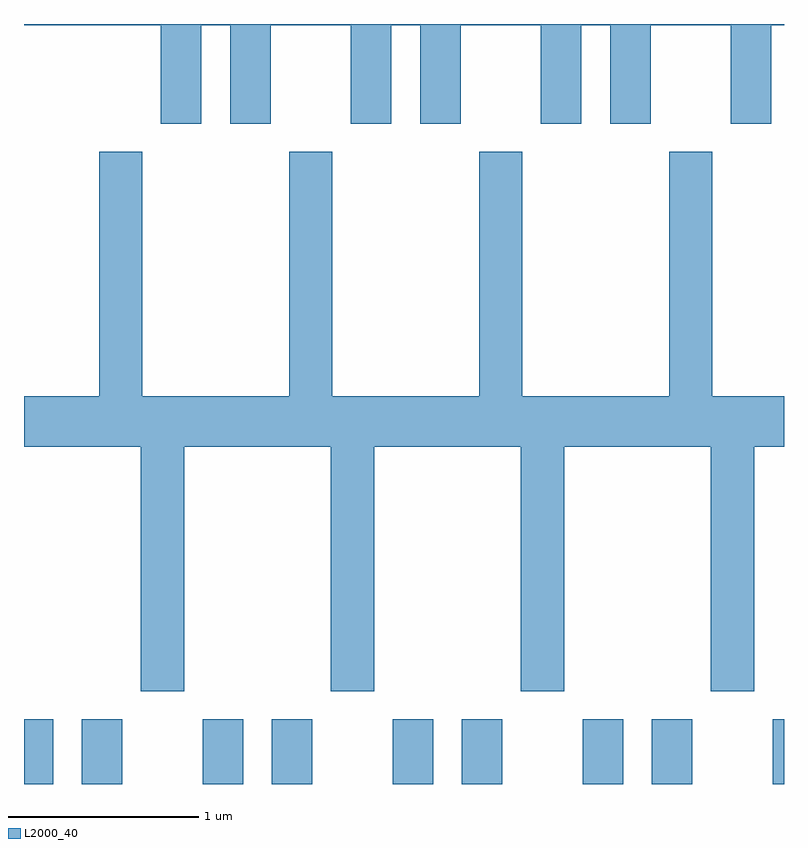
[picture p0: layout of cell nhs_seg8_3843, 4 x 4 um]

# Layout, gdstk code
import gdstk
lib = gdstk.Library(unit=1e-6, precision=1e-09)
def R(c, l, rs):  # rectangles x0, y0, x1, y1
    for r in rs: c.add(gdstk.rectangle(r[:2], r[2:], *l))
def P(c, l, *ps):  # polygons
    for p in ps: c.add(gdstk.Polygon(p, *l))
L2000_40 = (2000, 40)

nhs_seg8_3843 = lib.new_cell('nhs_seg8_3843')
R(nhs_seg8_3843, L2000_40, [(299.611,1912.342,299.764,1912.684), (299.916,1912.342,300.129,1912.684), (300.551,1912.342,300.764,1912.684), (300.916,1912.342,301.129,1912.684), (301.551,1912.342,301.764,1912.684), (301.916,1912.342,302.129,1912.684), (302.551,1912.342,302.764,1912.684), (302.916,1912.342,303.129,1912.684), (303.551,1912.342,303.611,1912.684)])
P(nhs_seg8_3843, L2000_40, [(300.544,1916.336),(300.696,1916.336),(300.696,1915.816),(300.909,1915.816),(300.909,1916.336),(301.331,1916.336),(301.331,1915.816),(301.544,1915.816),(301.544,1916.336),(301.696,1916.336),(301.696,1915.816),(301.909,1915.816),(301.909,1916.336),(302.331,1916.336),(302.331,1915.816),(302.544,1915.816),(302.544,1916.336),(302.696,1916.336),(302.696,1915.816),(302.909,1915.816),(302.909,1916.336),(303.331,1916.336),(303.331,1915.816),(303.544,1915.816),(303.544,1916.336),(303.611,1916.336),(303.611,1916.342),(299.611,1916.342),(299.611,1916.336),(300.331,1916.336),(300.331,1915.816),(300.544,1915.816)],
  [(300.234,1915.669),(300.006,1915.669),(300.006,1914.384),(299.611,1914.384),(299.611,1914.116),(300.226,1914.116),(300.226,1912.831),(300.454,1912.831),(300.454,1914.116),(301.226,1914.116),(301.226,1912.831),(301.454,1912.831),(301.454,1914.116),(302.226,1914.116),(302.226,1912.831),(302.454,1912.831),(302.454,1914.116),(303.226,1914.116),(303.226,1912.831),(303.454,1912.831),(303.454,1914.116),(303.611,1914.116),(303.611,1914.384),(303.234,1914.384),(303.234,1915.669),(303.006,1915.669),(303.006,1914.384),(302.234,1914.384),(302.234,1915.669),(302.006,1915.669),(302.006,1914.384),(301.234,1914.384),(301.234,1915.669),(301.006,1915.669),(301.006,1914.384),(300.234,1914.384)])

lib.write_gds('nhs_seg8_3843.gds')
